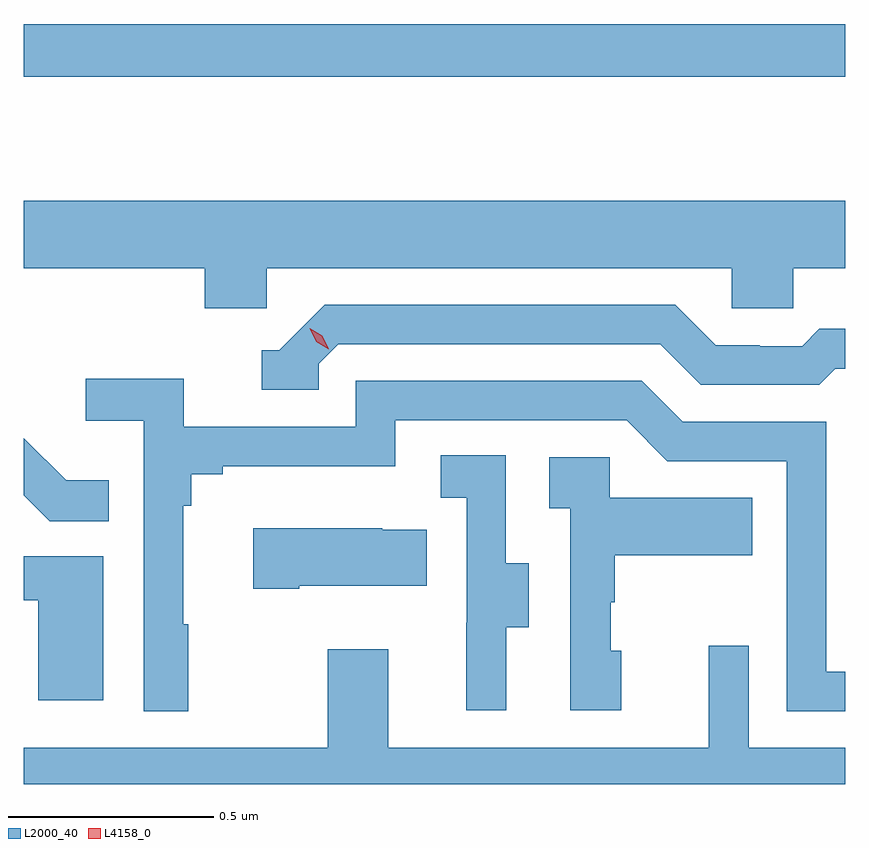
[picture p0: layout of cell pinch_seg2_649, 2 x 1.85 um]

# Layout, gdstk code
import gdstk
lib = gdstk.Library(unit=1e-6, precision=1e-09)
def R(c, l, rs):  # rectangles x0, y0, x1, y1
    for r in rs: c.add(gdstk.rectangle(r[:2], r[2:], *l))
def P(c, l, *ps):  # polygons
    for p in ps: c.add(gdstk.Polygon(p, *l))
L2000_40 = (2000, 40)
L4158_0 = (4158, 0)

pinch_seg2_649 = lib.new_cell('pinch_seg2_649')
R(pinch_seg2_649, L2000_40, [(1071.956,597.486,1073.956,597.614)])
P(pinch_seg2_649, L2000_40, [(1071.956,597.02),(1072.397,597.02),(1072.397,596.922),(1072.548,596.922),(1072.548,597.02),(1073.679,597.02),(1073.679,596.922),(1073.829,596.922),(1073.829,597.02),(1073.956,597.02),(1073.956,597.184),(1071.956,597.184)],
  [(1072.674,596.787),(1072.722,596.835),(1073.505,596.835),(1073.604,596.736),(1073.893,596.736),(1073.932,596.775),(1073.956,596.775),(1073.956,596.872),(1073.893,596.872),(1073.851,596.829),(1073.748,596.829),(1073.748,596.832),(1073.641,596.832),(1073.542,596.931),(1072.689,596.931),(1072.578,596.82),(1072.535,596.82),(1072.535,596.724),(1072.674,596.724)],
  [(1072.357,596.153),(1072.345,596.153),(1072.345,596.441),(1072.364,596.441),(1072.364,596.518),(1072.441,596.518),(1072.441,596.537),(1072.86,596.537),(1072.86,596.649),(1073.424,596.649),(1073.523,596.55),(1073.814,596.55),(1073.814,595.941),(1073.956,595.941),(1073.956,596.037),(1073.91,596.037),(1073.91,596.646),(1073.56,596.646),(1073.461,596.745),(1072.764,596.745),(1072.764,596.634),(1072.346,596.634),(1072.346,596.75),(1072.107,596.75),(1072.107,596.648),(1072.248,596.648),(1072.248,595.941),(1072.357,595.941)],
  [(1072.163,596.503),(1072.059,596.503),(1071.956,596.606),(1071.956,596.467),(1072.019,596.404),(1072.163,596.404)],
  [(1073.131,596.146),(1073.185,596.146),(1073.185,596.301),(1073.13,596.301),(1073.13,596.564),(1072.971,596.564),(1072.971,596.461),(1073.034,596.461),(1073.034,596.157),(1073.033,596.157),(1073.033,595.944),(1073.131,595.944)],
  [(1073.41,596.088),(1073.385,596.088),(1073.385,596.207),(1073.395,596.207),(1073.395,596.321),(1073.729,596.321),(1073.729,596.461),(1073.382,596.461),(1073.382,596.559),(1073.235,596.559),(1073.235,596.435),(1073.286,596.435),(1073.286,595.944),(1073.41,595.944)],
  [(1072.627,596.246),(1072.937,596.246),(1072.937,596.383),(1072.829,596.383),(1072.829,596.386),(1072.515,596.386),(1072.515,596.239),(1072.627,596.239)],
  [(1072.15,596.319),(1071.956,596.319),(1071.956,596.211),(1071.992,596.211),(1071.992,595.968),(1072.15,595.968)],
  [(1073.956,595.852),(1073.721,595.852),(1073.721,596.101),(1073.624,596.101),(1073.624,595.852),(1072.843,595.852),(1072.843,596.092),(1072.696,596.092),(1072.696,595.852),(1071.956,595.852),(1071.956,595.764),(1073.956,595.764)])
P(pinch_seg2_649, L4158_0, [(1072.699,596.822),(1072.668,596.841),(1072.652,596.874),(1072.652,596.874),(1072.652,596.874),(1072.683,596.855),(1072.699,596.822),(1072.699,596.822)])

lib.write_gds('pinch_seg2_649.gds')
